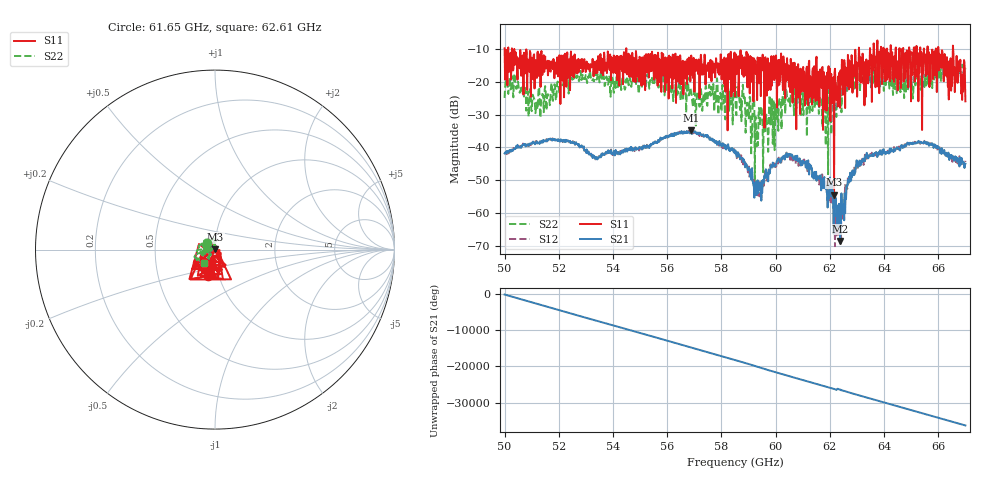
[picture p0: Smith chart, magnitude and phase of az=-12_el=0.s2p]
!Created with skrf (http://scikit-rf.org).
# GHz S RI R 50.0
!freq ReS11 ImS11 ReS21 ImS21 ReS12 ImS12 ReS22 ImS22
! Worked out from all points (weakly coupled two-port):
!   1001 points, 50 GHz to 67 GHz, reference 50 ohm
!   highest |S21| = -34.80 dB at 56.87 GHz (marker M1); lowest = -68.6 dB at 62.38 GHz (marker M2)
!   lowest |S11| = -54.4 dB at 62.16 GHz (marker M3), VSWR 1.00, Z = 50.2 + j0.0739 ohm
!   |S11| at or under -10 dB: 50.36 GHz to 54.49 GHz (4.13 GHz wide, 7.88 % of centre); 54.49 GHz to 63.07 GHz (8.582 GHz wide, 14.6 % of centre); 66 GHz to 66.54 GHz (533.6 MHz wide, 0.805 % of centre) (the widest 3 of 27)
!   |S22| runs from -50.7 to -14.0 dB; largest |S21 - S12| = 0.0026
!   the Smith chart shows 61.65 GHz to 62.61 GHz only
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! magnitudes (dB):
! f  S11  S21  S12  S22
! 50 GHz  -9.7  -41.8  -41.5  -24.9
! 50.42 GHz  -13.3  -39.6  -39.8  -22.1
! 51.38 GHz  -16.5  -38.4  -38.4  -24.6
! 52.84 GHz  -13.9  -39.3  -39.8  -19.4
! 53.42 GHz  -17.3  -43.7  -43.6  -18.6
! 55.68 GHz  -13.4  -37.8  -37.7  -21.7
! 56.87 GHz  -17.4  -34.8  -35.5  -22.4
! 58.5 GHz  -24.3  -41.8  -41.8  -24.8
! 59.13 GHz  -14.9  -46.3  -49.9  -36.8
! 59.32 GHz  -25.6  -54.2  -54.1  -34.6
! 60.44 GHz  -18.1  -42.8  -42.6  -24.9
! 61.34 GHz  -26.8  -46.3  -47.2  -26.3
! 61.8 GHz  -19.1  -49.1  -50.9  -23.6
! 62.16 GHz  -54.4  -54.0  -61.6  -28.9
! 62.38 GHz  -27.9  -68.6  -57.7  -18.3
! 62.65 GHz  -21.2  -51.7  -52.5  -23.1
! 62.99 GHz  -14.1  -43.9  -46.2  -21.0
! 64.18 GHz  -18.6  -41.9  -41.1  -18.7
! 66.08 GHz  -15.3  -40.6  -40.5  -15.6
! 66.42 GHz  -15.3  -42.4  -42.8  -16.4
! 66.75 GHz  -16.9  -43.6  -44.4  -18.3
! 67 GHz  -26.0  -45.0  -44.1  -15.7
